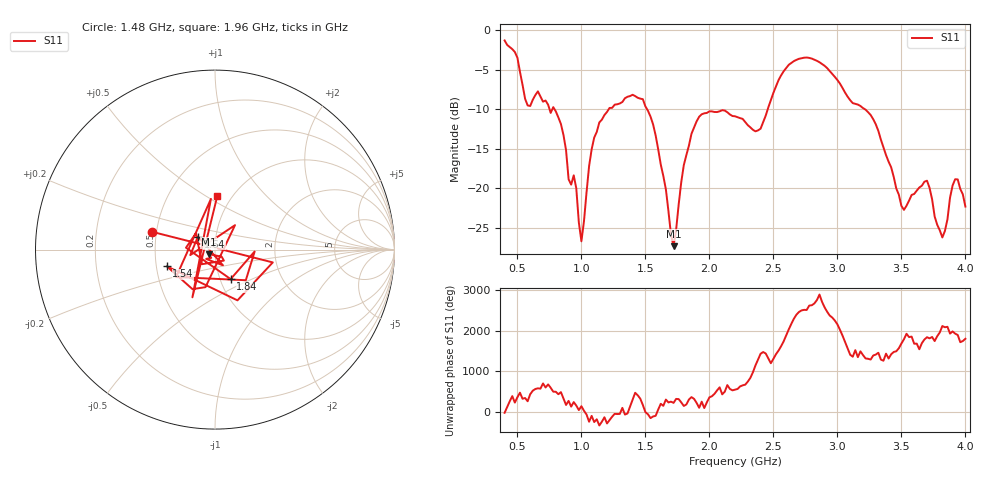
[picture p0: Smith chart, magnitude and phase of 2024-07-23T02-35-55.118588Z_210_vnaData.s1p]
!Created with skrf (http://scikit-rf.org).
# Hz S RI R 50.0
!freq ReS11 ImS11
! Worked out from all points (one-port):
!   181 points, 400 MHz to 4 GHz, reference 50 ohm
!   lowest |S11| = -27.4 dB at 1.72 GHz (marker M1), VSWR 1.09, Z = 46.6 - j2.34 ohm
!   |S11| at or under -10 dB: 790 MHz to 1.213 GHz (423.4 MHz wide, 42.3 % of centre); 1.513 GHz to 2.456 GHz (942.7 MHz wide, 47.5 % of centre); 3.215 GHz to end of sweep (the widest 3 of 4)
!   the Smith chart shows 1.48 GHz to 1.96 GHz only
!   S11 on the Smith chart (normalised r, x): 1.48 GHz: 0.47, +0.11; 1.54 GHz: 0.57, -0.12; 1.64 GHz: 0.82, +0.12; 1.84 GHz: 1.12, -0.38; 1.96 GHz: 0.86, +0.56
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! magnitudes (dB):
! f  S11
! 400 MHz  -1.3
! 500 MHz  -3.5
! 580 MHz  -9.5
! 660 MHz  -7.7
! 860 MHz  -13.3
! 900 MHz  -18.9
! 960 MHz  -20.0
! 1 GHz  -26.7
! 1.1 GHz  -13.6
! 1.3 GHz  -9.3
! 1.48 GHz  -8.7
! 1.54 GHz  -10.9
! 1.64 GHz  -18.5
! 1.72 GHz  -27.4
! 1.76 GHz  -22.1
! 1.84 GHz  -14.6
! 1.96 GHz  -10.5
! 2.2 GHz  -10.9
! 2.4 GHz  -12.5
! 2.66 GHz  -3.9
! 3.1 GHz  -8.9
! 3.28 GHz  -11.3
! 3.5 GHz  -22.2
! 3.56 GHz  -21.6
! 3.7 GHz  -19.1
! 3.82 GHz  -26.2
! 3.92 GHz  -18.9
! 4 GHz  -22.3
